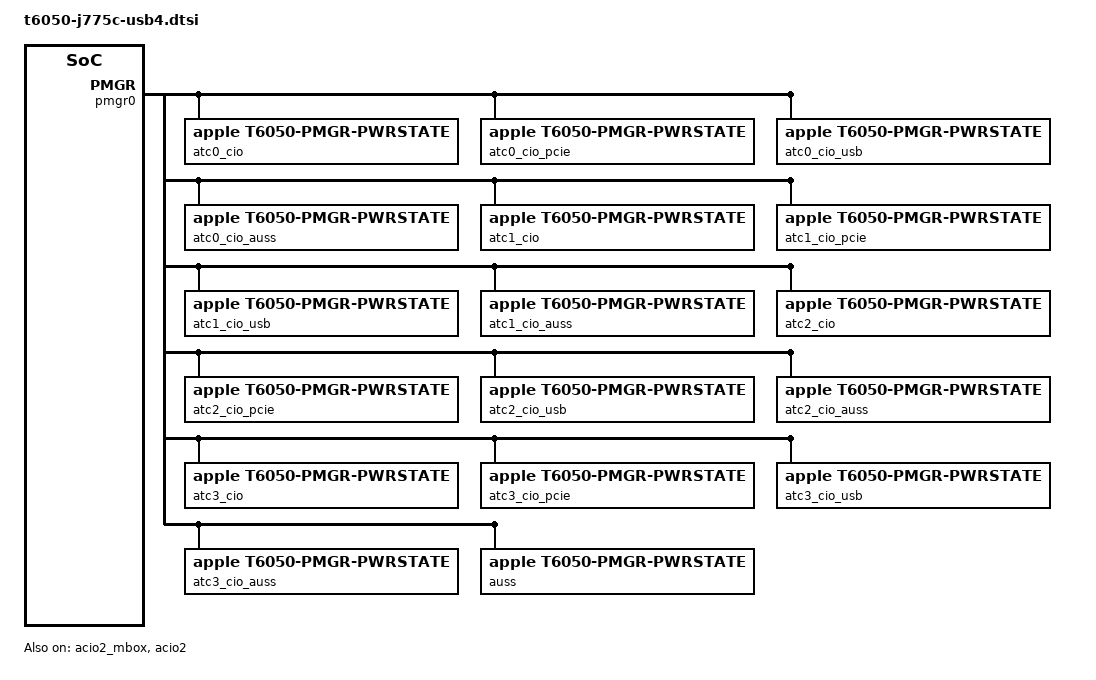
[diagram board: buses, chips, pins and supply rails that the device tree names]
/* J775c rear USB4 routers. Per-controller resources and tunables from J775c ADT. */


&{/aliases} {
	usb4-0-acio = &acio0;
	usb4-0-nhi = &acio0_nhi;
	usb4-1-acio = &acio1;
	usb4-1-nhi = &acio1_nhi;
	usb4-2-acio = &acio2;
	usb4-2-nhi = &acio2_nhi;
	usb4-3-acio = &acio3;
	usb4-3-nhi = &acio3_nhi;
};


&pmgr0 {

	ps_atc0_cio: power-controller@280 {
		compatible = "apple,t6050-pmgr-pwrstate", "apple,t8103-pmgr-pwrstate";
		reg = <0x280 4>;
		label = "atc0_cio";
		#power-domain-cells = <0>;
		#reset-cells = <0>;
		power-domains = <&ps_atc0_common>;
	};

	ps_atc0_cio_pcie: power-controller@338 {
		compatible = "apple,t6050-pmgr-pwrstate", "apple,t8103-pmgr-pwrstate";
		reg = <0x338 4>;
		label = "atc0_cio_pcie";
		#power-domain-cells = <0>;
		#reset-cells = <0>;
		power-domains = <&ps_atc0_cio>;
	};

	ps_atc0_cio_usb: power-controller@340 {
		compatible = "apple,t6050-pmgr-pwrstate", "apple,t8103-pmgr-pwrstate";
		reg = <0x340 4>;
		label = "atc0_cio_usb";
		#power-domain-cells = <0>;
		#reset-cells = <0>;
		power-domains = <&ps_atc0_cio>;
	};

	ps_atc0_cio_auss: power-controller@348 {
		compatible = "apple,t6050-pmgr-pwrstate", "apple,t8103-pmgr-pwrstate";
		reg = <0x348 4>;
		label = "atc0_cio_auss";
		#power-domain-cells = <0>;
		#reset-cells = <0>;
		power-domains = <&ps_atc0_cio>, <&ps_auss>;
	};

	ps_atc1_cio: power-controller@290 {
		compatible = "apple,t6050-pmgr-pwrstate", "apple,t8103-pmgr-pwrstate";
		reg = <0x290 4>;
		label = "atc1_cio";
		#power-domain-cells = <0>;
		#reset-cells = <0>;
		power-domains = <&ps_atc1_common>;
	};

	ps_atc1_cio_pcie: power-controller@350 {
		compatible = "apple,t6050-pmgr-pwrstate", "apple,t8103-pmgr-pwrstate";
		reg = <0x350 4>;
		label = "atc1_cio_pcie";
		#power-domain-cells = <0>;
		#reset-cells = <0>;
		power-domains = <&ps_atc1_cio>;
	};

	ps_atc1_cio_usb: power-controller@358 {
		compatible = "apple,t6050-pmgr-pwrstate", "apple,t8103-pmgr-pwrstate";
		reg = <0x358 4>;
		label = "atc1_cio_usb";
		#power-domain-cells = <0>;
		#reset-cells = <0>;
		power-domains = <&ps_atc1_cio>;
	};

	ps_atc1_cio_auss: power-controller@360 {
		compatible = "apple,t6050-pmgr-pwrstate", "apple,t8103-pmgr-pwrstate";
		reg = <0x360 4>;
		label = "atc1_cio_auss";
		#power-domain-cells = <0>;
		#reset-cells = <0>;
		power-domains = <&ps_atc1_cio>, <&ps_auss>;
	};

	ps_atc2_cio: power-controller@2e8 {
		compatible = "apple,t6050-pmgr-pwrstate", "apple,t8103-pmgr-pwrstate";
		reg = <0x2e8 4>;
		label = "atc2_cio";
		#power-domain-cells = <0>;
		#reset-cells = <0>;
		power-domains = <&ps_atc2_common>;
	};

	ps_atc2_cio_pcie: power-controller@3f8 {
		compatible = "apple,t6050-pmgr-pwrstate", "apple,t8103-pmgr-pwrstate";
		reg = <0x3f8 4>;
		label = "atc2_cio_pcie";
		#power-domain-cells = <0>;
		#reset-cells = <0>;
		power-domains = <&ps_atc2_cio>;
	};

	ps_atc2_cio_usb: power-controller@400 {
		compatible = "apple,t6050-pmgr-pwrstate", "apple,t8103-pmgr-pwrstate";
		reg = <0x400 4>;
		label = "atc2_cio_usb";
		#power-domain-cells = <0>;
		#reset-cells = <0>;
		power-domains = <&ps_atc2_cio>;
	};

	ps_atc2_cio_auss: power-controller@408 {
		compatible = "apple,t6050-pmgr-pwrstate", "apple,t8103-pmgr-pwrstate";
		reg = <0x408 4>;
		label = "atc2_cio_auss";
		#power-domain-cells = <0>;
		#reset-cells = <0>;
		power-domains = <&ps_atc2_cio>, <&ps_auss>;
	};

	ps_atc3_cio: power-controller@2f8 {
		compatible = "apple,t6050-pmgr-pwrstate", "apple,t8103-pmgr-pwrstate";
		reg = <0x2f8 4>;
		label = "atc3_cio";
		#power-domain-cells = <0>;
		#reset-cells = <0>;
		power-domains = <&ps_atc3_common>;
	};

	ps_atc3_cio_pcie: power-controller@410 {
		compatible = "apple,t6050-pmgr-pwrstate", "apple,t8103-pmgr-pwrstate";
		reg = <0x410 4>;
		label = "atc3_cio_pcie";
		#power-domain-cells = <0>;
		#reset-cells = <0>;
		power-domains = <&ps_atc3_cio>;
	};

	ps_atc3_cio_usb: power-controller@418 {
		compatible = "apple,t6050-pmgr-pwrstate", "apple,t8103-pmgr-pwrstate";
		reg = <0x418 4>;
		label = "atc3_cio_usb";
		#power-domain-cells = <0>;
		#reset-cells = <0>;
		power-domains = <&ps_atc3_cio>;
	};

	ps_atc3_cio_auss: power-controller@420 {
		compatible = "apple,t6050-pmgr-pwrstate", "apple,t8103-pmgr-pwrstate";
		reg = <0x420 4>;
		label = "atc3_cio_auss";
		#power-domain-cells = <0>;
		#reset-cells = <0>;
		power-domains = <&ps_atc3_cio>, <&ps_auss>;
	};

	ps_auss: power-controller@248 {
		compatible = "apple,t6050-pmgr-pwrstate", "apple,t8103-pmgr-pwrstate";
		reg = <0x248 4>;
		label = "auss";
		#power-domain-cells = <0>;
		#reset-cells = <0>;
		apple,always-on;
	};
};


&atc0_phy {
	apple,tunable-lane0-rx-top-cio = <0x35c 0xe00 0x200>;
	apple,tunable-lane1-rx-top-cio = <0x35c 0xe00 0x200>;
};


&atc1_phy {
	apple,tunable-lane0-rx-top-cio = <0x35c 0xe00 0x200>;
	apple,tunable-lane1-rx-top-cio = <0x35c 0xe00 0x200>;
};


&atc2_phy {
	apple,tunable-lane0-rx-top-cio = <0x35c 0xe00 0x200>;
	apple,tunable-lane1-rx-top-cio = <0x35c 0xe00 0x200>;
};


&atc3_phy {
	apple,tunable-lane0-rx-top-cio = <0x35c 0xe00 0x200>;
	apple,tunable-lane1-rx-top-cio = <0x35c 0xe00 0x200>;
};


&pinctrl_aop {
	/* Keep HDMI GPIO 14 available, and reserve every pin except CIO LSTX 77/79/81/83. */
	gpio-reserved-ranges = <0 14>, <15 62>, <78 1>, <80 1>, <82 1>, <84 1>;
	status = "okay";



	acio2_lstx_pins: acio2-lstx-pins {
		pinmux = <0x10051>;
	};


};


&hpm0 {
	connector {
		ports {
			port@3 {
				reg = <3>;
				hpm0_usb4: endpoint {
					remote-endpoint = <&acio0_tbt>;
				};
			};
		};
	};
};


&hpm1 {
	connector {
		ports {
			port@3 {
				reg = <3>;
				hpm1_usb4: endpoint {
					remote-endpoint = <&acio1_tbt>;
				};
			};
		};
	};
};


&hpm2 {
	connector {
		ports {
			port@3 {
				reg = <3>;
				hpm2_usb4: endpoint {
					remote-endpoint = <&acio2_tbt>;
				};
			};
		};
	};
};


&hpm3 {
	connector {
		ports {
			port@3 {
				reg = <3>;
				hpm3_usb4: endpoint {
					remote-endpoint = <&acio3_tbt>;
				};
			};
		};
	};
};


&{/soc} {
	cio_reconfig0: cio_reset: reset-controller@280620000 {
		compatible = "apple,t6050-cio-reset";
		reg = <0x2 0x80620000 0x0 0x4000>;
		#reset-cells = <1>;
	};





	acio2_mbox: mailbox@381108000 {
		compatible = "apple,t6050-asc-mailbox", "apple,asc-mailbox-v4";
		reg = <0x3 0x81108000 0x0 0x4000>;
		interrupts = <AIC_IRQ 0 857 IRQ_TYPE_LEVEL_HIGH>,
			     <AIC_IRQ 0 858 IRQ_TYPE_LEVEL_HIGH>,
			     <AIC_IRQ 0 859 IRQ_TYPE_LEVEL_HIGH>,
			     <AIC_IRQ 0 860 IRQ_TYPE_LEVEL_HIGH>;
		interrupt-names = "send-empty", "send-not-empty",
				  "recv-empty", "recv-not-empty";
		#mbox-cells = <0>;
#if !(defined(T6050_J714C) || defined(T6050_J714S) || defined(T6050_J716C))
		status = "disabled";
#endif
	};

	acio2: acio@381ac0000 {
		compatible = "apple,t6050-usb4-acio";
		reg = <0x3 0x81ac0000 0x0 0xc000>,
		      <0x3 0x81080000 0x0 0x26000>,
		      <0x3 0x81e44000 0x0 0x4000>,
		      <0x3 0x81100000 0x0 0x4000>,
		      <0x3 0x81c80000 0x0 0x4000>;
		reg-names = "rc", "sram", "pcie-adapter", "cpu", "router-ap-fw";
		mboxes = <&acio2_mbox>;
		resets = <&cio_reconfig0 2>;
		power-domains = <&ps_atc2_cio>, <&ps_atc2_cio_pcie>,
				<&ps_atc2_cio_usb>, <&ps_atc2_cio_auss>;
		thunderbolt-switch;
#if !(defined(T6050_J714C) || defined(T6050_J714S) || defined(T6050_J716C))
		status = "disabled";
#endif
		pinctrl-0 = <&acio2_lstx_pins>;
		pinctrl-names = "lstx";
		lstx-gpios = <&pinctrl_aop 81 GPIO_ACTIVE_HIGH>;

		#address-cells = <1>;
		#size-cells = <1>;
		ranges = <0x0 0x3 0x81000000 0x1000000>;
		nonposted-mmio;

		/*
		 * /arm-io/dart-acio2, populated with the NHI once the router runs, so that it is
		 * first read with the router up. Nothing initialises it before Linux: its tunables
		 * (dart-tunables-instance-0), stream 15 (bypass-15) in bypass, every error
		 * reported and the context cache flushed. vm-base 0x100_0000_0000.
		 */
		acio2_dart: iommu@a80000 {
			compatible = "apple,t6050-dart", "apple,t8110-dart";
			reg = <0xa80000 0xc000>;
			interrupts = <AIC_IRQ 0 1670 IRQ_TYPE_LEVEL_HIGH>;
			power-domains = <&ps_atc2_cio>;
			#iommu-cells = <1>;
			apple,dma-range = <0x100 0x4000 0x0 0xffff0000>;
			apple,bypass-sids = <15>;
			apple,full-error-reporting;
			apple,ctc-flush;
		};

		/* Interrupts 0x66b.. are the TX rings and 0x677.. the RX rings */
		acio2_nhi: nhi@f00000 {
			compatible = "apple,t6050-usb4-nhi";
			reg = <0xf00000 0x100000>;
			reg-names = "nhi";
			/* The board or boot loader supplies the host DROM. */
			apple,thunderbolt-drom = [00];
			interrupts = <AIC_IRQ 0 1643 IRQ_TYPE_LEVEL_HIGH>,
					     <AIC_IRQ 0 1644 IRQ_TYPE_LEVEL_HIGH>,
					     <AIC_IRQ 0 1645 IRQ_TYPE_LEVEL_HIGH>,
					     <AIC_IRQ 0 1646 IRQ_TYPE_LEVEL_HIGH>,
					     <AIC_IRQ 0 1647 IRQ_TYPE_LEVEL_HIGH>,
					     <AIC_IRQ 0 1648 IRQ_TYPE_LEVEL_HIGH>,
					     <AIC_IRQ 0 1649 IRQ_TYPE_LEVEL_HIGH>,
					     <AIC_IRQ 0 1650 IRQ_TYPE_LEVEL_HIGH>,
					     <AIC_IRQ 0 1651 IRQ_TYPE_LEVEL_HIGH>,
					     <AIC_IRQ 0 1652 IRQ_TYPE_LEVEL_HIGH>,
					     <AIC_IRQ 0 1653 IRQ_TYPE_LEVEL_HIGH>,
					     <AIC_IRQ 0 1654 IRQ_TYPE_LEVEL_HIGH>,
					     <AIC_IRQ 0 1655 IRQ_TYPE_LEVEL_HIGH>,
					     <AIC_IRQ 0 1656 IRQ_TYPE_LEVEL_HIGH>,
					     <AIC_IRQ 0 1657 IRQ_TYPE_LEVEL_HIGH>,
					     <AIC_IRQ 0 1658 IRQ_TYPE_LEVEL_HIGH>,
					     <AIC_IRQ 0 1659 IRQ_TYPE_LEVEL_HIGH>,
					     <AIC_IRQ 0 1660 IRQ_TYPE_LEVEL_HIGH>,
					     <AIC_IRQ 0 1661 IRQ_TYPE_LEVEL_HIGH>,
					     <AIC_IRQ 0 1662 IRQ_TYPE_LEVEL_HIGH>,
					     <AIC_IRQ 0 1663 IRQ_TYPE_LEVEL_HIGH>,
					     <AIC_IRQ 0 1664 IRQ_TYPE_LEVEL_HIGH>,
					     <AIC_IRQ 0 1665 IRQ_TYPE_LEVEL_HIGH>,
					     <AIC_IRQ 0 1666 IRQ_TYPE_LEVEL_HIGH>,
					     <AIC_IRQ 0 1672 IRQ_TYPE_LEVEL_HIGH>;
			interrupt-names = "txring0", "txring1", "txring2", "txring3", "txring4", "txring5",
						  "txring6", "txring7", "txring8", "txring9", "txring10", "txring11",
						  "rxring0", "rxring1", "rxring2", "rxring3", "rxring4", "rxring5",
						  "rxring6", "rxring7", "rxring8", "rxring9", "rxring10", "rxring11",
						  "parity";
			iommus = <&acio2_dart 0>,
				 <&acio2_dart 1>,
				 <&acio2_dart 2>,
				 <&acio2_dart 3>,
				 <&acio2_dart 4>,
				 <&acio2_dart 5>,
				 <&acio2_dart 6>,
				 <&acio2_dart 7>,
				 <&acio2_dart 8>,
				 <&acio2_dart 9>,
				 <&acio2_dart 10>,
				 <&acio2_dart 11>,
				 <&acio2_dart 16>,
				 <&acio2_dart 17>,
				 <&acio2_dart 18>,
				 <&acio2_dart 19>,
				 <&acio2_dart 20>,
				 <&acio2_dart 21>,
				 <&acio2_dart 22>,
				 <&acio2_dart 23>,
				 <&acio2_dart 24>,
				 <&acio2_dart 25>,
				 <&acio2_dart 26>,
				 <&acio2_dart 27>;
		};
	};



};

/* The inherited USB DARTs have no secure-monitor power-down operation in
 * Linux's direct T8110 backend. Do not cut their domain from pre-freezer
 * Type-C teardown or system PM. Router-only CIO domains remain cycleable.
 * Keeping USB also retains its AON/common suppliers for wake. This can be
 * relaxed only with a qualified DART ownership/power-down handoff. */
&ps_atc0_usb { apple,always-on; };
&ps_atc1_usb { apple,always-on; };
&ps_atc2_usb { apple,always-on; };
&ps_atc3_usb { apple,always-on; };

&acio2_mbox { status = "okay"; };
&acio2 { status = "okay"; port { acio2_tbt: endpoint { remote-endpoint = <&hpm2_usb4>; }; }; };
